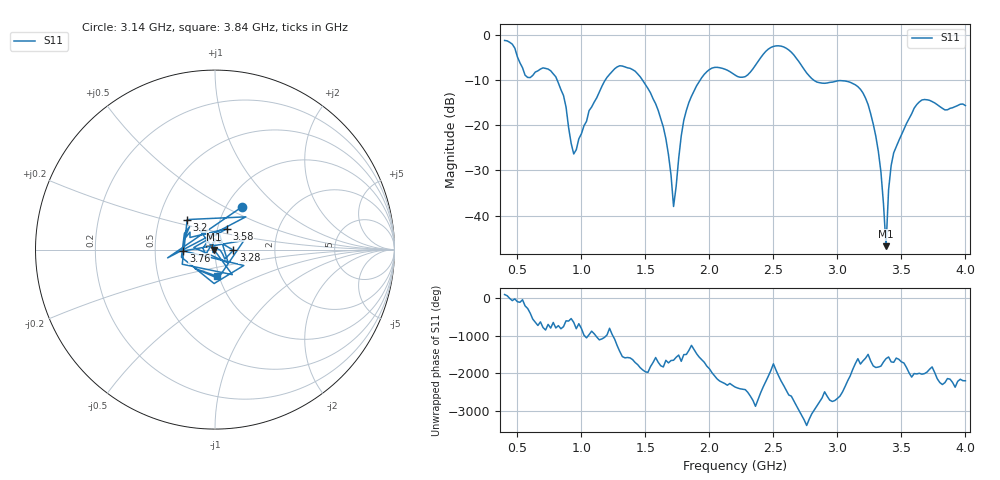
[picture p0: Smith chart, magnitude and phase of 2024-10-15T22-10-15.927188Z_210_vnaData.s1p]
! Created with skrf (http://scikit-rf.org).
# Hz S RI R 50.0
!freq ReS11 ImS11
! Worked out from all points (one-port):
!   181 points, 400 MHz to 4 GHz, reference 50 ohm
!   lowest |S11| = -46.8 dB at 3.38 GHz (marker M1), VSWR 1.01, Z = 49.6 - j0.0889 ohm
!   |S11| at or under -10 dB: 810.9 MHz to 1.186 GHz (375 MHz wide, 37.6 % of centre); 1.478 GHz to 1.927 GHz (449.8 MHz wide, 26.4 % of centre); 2.816 GHz to end of sweep
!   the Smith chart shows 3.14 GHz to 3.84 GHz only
!   S11 on the Smith chart (normalised r, x): 3.14 GHz: 1.18, +0.61; 3.2 GHz: 0.70, +0.25; 3.28 GHz: 1.23, -0.01; 3.58 GHz: 1.11, +0.26; 3.76 GHz: 0.70, -0.01; 3.84 GHz: 0.98, -0.30
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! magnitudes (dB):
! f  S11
! 400 MHz  -1.2
! 560 MHz  -8.9
! 740 MHz  -7.5
! 860 MHz  -13.4
! 940 MHz  -26.4
! 1.3 GHz  -6.8
! 1.6 GHz  -16.7
! 1.68 GHz  -26.5
! 1.72 GHz  -38.0
! 1.76 GHz  -27.3
! 1.82 GHz  -16.7
! 1.94 GHz  -9.4
! 2.2 GHz  -8.9
! 2.66 GHz  -4.4
! 2.84 GHz  -10.4
! 3.1 GHz  -10.5
! 3.14 GHz  -11.0
! 3.2 GHz  -12.8
! 3.28 GHz  -19.7
! 3.34 GHz  -30.3
! 3.38 GHz  -46.8
! 3.4 GHz  -34.3
! 3.42 GHz  -28.9
! 3.56 GHz  -18.5
! 3.58 GHz  -17.5
! 3.76 GHz  -15.0
! 3.84 GHz  -16.6
! 4 GHz  -15.6
